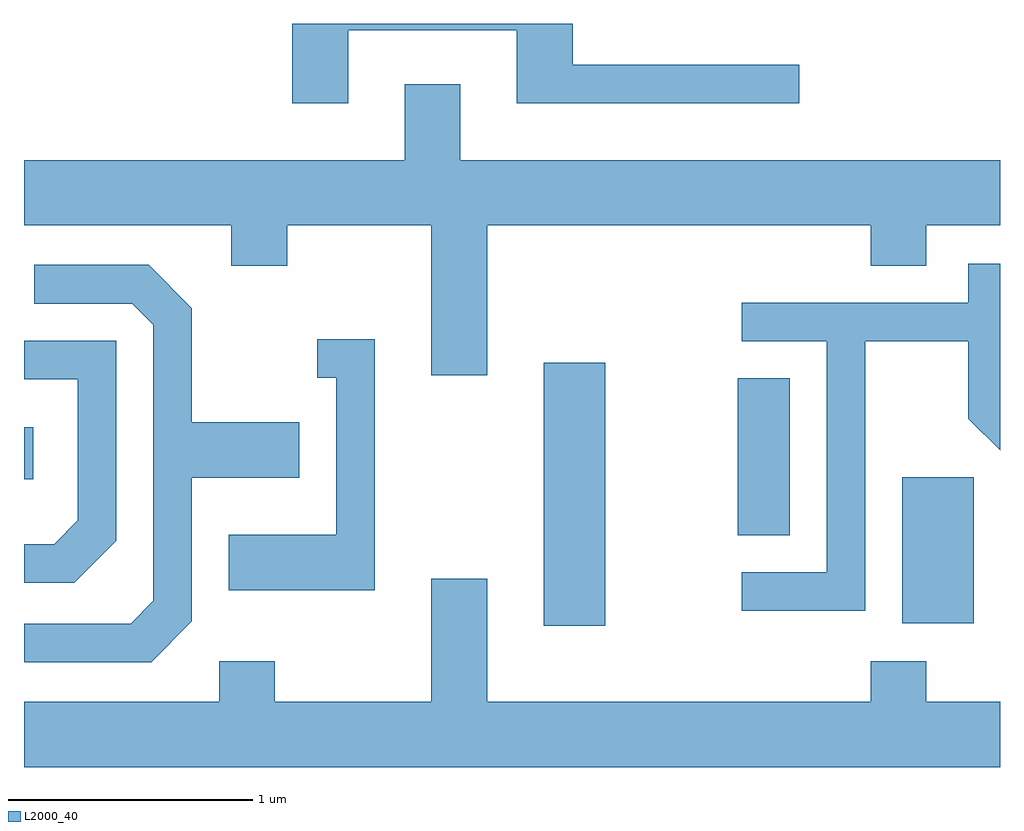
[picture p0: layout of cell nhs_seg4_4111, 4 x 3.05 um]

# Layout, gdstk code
import gdstk
lib = gdstk.Library(unit=1e-6, precision=1e-09)
def R(c, l, rs):  # rectangles x0, y0, x1, y1
    for r in rs: c.add(gdstk.rectangle(r[:2], r[2:], *l))
def P(c, l, *ps):  # polygons
    for p in ps: c.add(gdstk.Polygon(p, *l))
L2000_40 = (2000, 40)

nhs_seg4_4111 = lib.new_cell('nhs_seg4_4111')
R(nhs_seg4_4111, L2000_40, [(307.741,1317.516,307.994,1318.594), (309.211,1317.526,309.504,1318.124), (308.536,1317.886,308.749,1318.529), (305.611,1318.116,305.649,1318.329)])
P(nhs_seg4_4111, L2000_40, [(306.939,1319.956),(307.631,1319.956),(307.631,1319.656),(308.788,1319.656),(308.788,1319.814),(307.859,1319.814),(307.859,1319.982),(306.711,1319.982),(306.711,1319.656),(306.939,1319.656)],
  [(307.509,1319.156),(309.081,1319.156),(309.081,1318.991),(309.309,1318.991),(309.309,1319.156),(309.611,1319.156),(309.611,1319.424),(307.399,1319.424),(307.399,1319.734),(307.171,1319.734),(307.171,1319.424),(305.611,1319.424),(305.611,1319.156),(306.461,1319.156),(306.461,1318.991),(306.689,1318.991),(306.689,1319.156),(307.281,1319.156),(307.281,1318.541),(307.509,1318.541)],
  [(309.059,1318.681),(309.481,1318.681),(309.481,1318.364),(309.611,1318.234),(309.611,1318.999),(309.481,1318.999),(309.481,1318.839),(308.553,1318.839),(308.553,1318.681),(308.901,1318.681),(308.901,1317.734),(308.553,1317.734),(308.553,1317.576),(309.059,1317.576)],
  [(306.299,1317.534),(306.299,1318.121),(306.739,1318.121),(306.739,1318.349),(306.299,1318.349),(306.299,1318.817),(306.122,1318.994),(305.653,1318.994),(305.653,1318.836),(306.054,1318.836),(306.141,1318.749),(306.141,1317.617),(306.049,1317.524),(305.611,1317.524),(305.611,1317.366),(306.132,1317.366)],
  [(307.049,1318.689),(306.813,1318.689),(306.813,1318.531),(306.891,1318.531),(306.891,1317.889),(306.451,1317.889),(306.451,1317.661),(307.049,1317.661)],
  [(305.989,1317.864),(305.989,1318.684),(305.611,1318.684),(305.611,1318.526),(305.831,1318.526),(305.831,1317.947),(305.734,1317.849),(305.611,1317.849),(305.611,1317.691),(305.817,1317.691)],
  [(309.611,1317.204),(309.309,1317.204),(309.309,1317.369),(309.081,1317.369),(309.081,1317.204),(307.509,1317.204),(307.509,1317.709),(307.281,1317.709),(307.281,1317.204),(306.639,1317.204),(306.639,1317.369),(306.411,1317.369),(306.411,1317.204),(305.611,1317.204),(305.611,1316.936),(309.611,1316.936)])

lib.write_gds('nhs_seg4_4111.gds')
